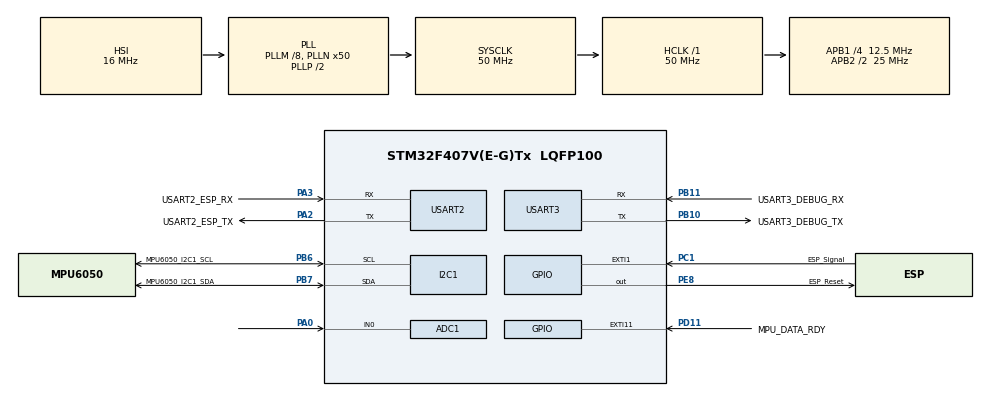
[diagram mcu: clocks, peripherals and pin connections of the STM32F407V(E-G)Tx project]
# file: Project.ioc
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ADC1.Channel-0\#ChannelRegularConversion=ADC_CHANNEL_0
ADC1.ContinuousConvMode=DISABLE
ADC1.ExternalTrigConv=ADC_EXTERNALTRIGCONV_T3_TRGO
ADC1.NbrOfConversionFlag=1
ADC1.Rank-0\#ChannelRegularConversion=1
ADC1.SamplingTime-0\#ChannelRegularConversion=ADC_SAMPLETIME_480CYCLES
ADC1.master=1
Dma.I2C1_RX.0.Direction=DMA_PERIPH_TO_MEMORY
Dma.I2C1_RX.0.FIFOMode=DMA_FIFOMODE_DISABLE
Dma.I2C1_RX.0.Instance=DMA1_Stream0
Dma.I2C1_RX.0.MemDataAlignment=DMA_MDATAALIGN_BYTE
Dma.I2C1_RX.0.MemInc=DMA_MINC_ENABLE
Dma.I2C1_RX.0.Mode=DMA_NORMAL
Dma.I2C1_RX.0.PeriphDataAlignment=DMA_PDATAALIGN_BYTE
Dma.I2C1_RX.0.PeriphInc=DMA_PINC_DISABLE
Dma.I2C1_RX.0.Priority=DMA_PRIORITY_LOW
Dma.Request0=I2C1_RX
Mcu.Family=STM32F4
Mcu.Name=STM32F407V(E-G)Tx
Mcu.Package=LQFP100
NVIC.ADC_IRQn=true\:1\:0\:true\:false\:true\:true\:true
NVIC.DMA1_Stream0_IRQn=true\:1\:0\:true\:false\:true\:false\:true
NVIC.EXTI15_10_IRQn=true\:1\:0\:true\:false\:true\:true\:true
NVIC.EXTI1_IRQn=true\:1\:1\:true\:false\:true\:true\:true
NVIC.I2C1_ER_IRQn=true\:1\:0\:true\:false\:true\:true\:true
NVIC.I2C1_EV_IRQn=true\:1\:0\:true\:false\:true\:true\:true
NVIC.PriorityGroup=NVIC_PRIORITYGROUP_2
NVIC.TIM2_IRQn=true\:1\:1\:true\:false\:true\:true\:true
NVIC.TIM4_IRQn=true\:1\:0\:true\:false\:true\:true\:true
PA0-WKUP.Signal=ADCx_IN0
PA2.GPIO_Label=USART2_ESP_TX
PA2.Mode=Asynchronous
PA2.Signal=USART2_TX
PA3.GPIO_Label=USART2_ESP_RX
PA3.Mode=Asynchronous
PA3.Signal=USART2_RX
PB10.GPIO_Label=USART3_DEBUG_TX
PB10.Mode=Asynchronous
PB10.Signal=USART3_TX
PB11.GPIO_Label=USART3_DEBUG_RX
PB11.Mode=Asynchronous
PB11.Signal=USART3_RX
PB6.GPIO_Label=MPU6050_I2C1_SCL
PB6.Mode=I2C
PB6.Signal=I2C1_SCL
PB7.GPIO_Label=MPU6050_I2C1_SDA
PB7.Mode=I2C
PB7.Signal=I2C1_SDA
PC1.GPIO_Label=ESP_Signal
PC1.GPIO_ModeDefaultEXTI=GPIO_MODE_IT_FALLING
PC1.GPIO_PuPd=GPIO_NOPULL
PC1.Signal=GPXTI1
PD11.GPIO_Label=MPU_DATA_RDY
PD11.Signal=GPXTI11
PE8.GPIO_Label=ESP_Reset
PE8.PinState=GPIO_PIN_SET
PE8.Signal=GPIO_Output
ProjectManager.HeapSize=0x200
ProjectManager.StackSize=0x400
ProjectManager.TargetToolchain=STM32CubeIDE
RCC.48MHZClocksFreq_Value=14285714.285714285
RCC.AHBFreq_Value=50000000
RCC.APB1CLKDivider=RCC_HCLK_DIV4
RCC.APB1Freq_Value=12500000
RCC.APB1TimFreq_Value=25000000
RCC.APB2CLKDivider=RCC_HCLK_DIV2
RCC.APB2Freq_Value=25000000
RCC.APB2TimFreq_Value=50000000
RCC.CortexFreq_Value=50000000
RCC.HCLKFreq_Value=50000000
RCC.HSE_VALUE=8000000
RCC.HSI_VALUE=16000000
RCC.LSE_VALUE=32768
RCC.PLLM=8
RCC.PLLN=50
RCC.PLLQ=7
RCC.SYSCLKFreq_VALUE=50000000
RCC.SYSCLKSource=RCC_SYSCLKSOURCE_PLLCLK
RCC.VCOOutputFreq_Value=100000000
SH.ADCx_IN0.0=ADC1_IN0,IN0
TIM2.Period=29999
TIM2.Prescaler=24999
TIM3.Period=4999
TIM3.Prescaler=24999
TIM3.TIM_MasterOutputTrigger=TIM_TRGO_UPDATE
TIM4.CounterMode=TIM_COUNTERMODE_UP
TIM4.Period=8099
TIM4.Prescaler=24999
USART2.VirtualMode=VM_ASYNC
USART3.VirtualMode=VM_ASYNC
VP_TIM2_VS_ClockSourceINT.Mode=Internal
VP_TIM3_VS_ClockSourceINT.Mode=Internal
VP_TIM4_VS_ClockSourceINT.Mode=Internal
board=STM32F407G-DISC1

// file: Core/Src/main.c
/* USER CODE BEGIN Header */
/**
  ******************************************************************************
  * @file           : main.c
  * @brief          : Main program body
  ******************************************************************************
  * @attention
  *
  * <h2><center>&copy; Copyright (c) 2021 STMicroelectronics.
  * All rights reserved.</center></h2>
  *
  * This software component is licensed by ST under Ultimate Liberty license
  * SLA0044, the "License"; You may not use this file except in compliance with
  * the License. You may obtain a copy of the License at:
  *                             www.st.com/SLA0044
  *
  ******************************************************************************
  */
/* USER CODE END Header */
#include "main.h"

/* USER CODE BEGIN Includes */
#include "string.h"
#include <stdio.h>
#include <stdlib.h>
#include "math.h"
/* USER CODE END Includes */

/* USER CODE BEGIN PD */
#define MQ_DATA_LENGTH 12
#define BASE_THRESHOLD 1.0
#define SLIDING_WINDOWS 7
#define COORDINATE_NUMBER 13

//MPU registers
#define MPU6050_ADDR 0xD0
#define WHO_AM_I_REG 0x75
#define PWR_MGMT_1_REG 0x6B
#define SMPLRT_DIV_REG 0x19
#define ACCEL_CONFIG_REG 0x1C
#define GYRO_CONFIG_REG 0x1B
#define ACCEL_XOUT_H_REG 0x3B
#define GYRO_XOUT_H_REG 0x43

#define FIFO_EN_REG 0x23
#define FIFO_R_W 0x74
#define USER_CTRL 0x6A
#define INT_ENABLE 0x38
#define CONFIG_REG 0x1A
#define FIFO_COUNTH 0x72
/* USER CODE END PD */

/* USER CODE BEGIN PM */
#ifdef DEBUG
# define DEBUG_PRINT(x) printf x
#else
# define DEBUG_PRINT(x) do {} while (0)
#endif
/* USER CODE END PM */

ADC_HandleTypeDef hadc1;

I2C_HandleTypeDef hi2c1;
DMA_HandleTypeDef hdma_i2c1_rx;

TIM_HandleTypeDef htim2;
TIM_HandleTypeDef htim3;
TIM_HandleTypeDef htim4;

UART_HandleTypeDef huart2;
UART_HandleTypeDef huart3;

/* USER CODE BEGIN PV */
uint8_t MPU_OK = 0;     //Check status MPU flag

//Fake gps structures
typedef struct {
	float longitude;
	float latitude;
}Coordinate;

Coordinate fake_gps[13];
uint8_t coordinate_index = 0;

//Sensor data structures
uint8_t mq_index = 0;
float mq_data[MQ_DATA_LENGTH];

////// MPU Variables
float Ax, Ay, Az, Gx, Gy, Gz = 0.0;
float Accel_X_RAW, Accel_Y_RAW, Accel_Z_RAW, Gyro_X_RAW, Gyro_Y_RAW, Gyro_Z_RAW = 0.0;

uint8_t mpu_data[1024];
uint16_t mpu_index = 0;
uint8_t fall_detected = 0;

//Calibration offsets
float offset_gyroX = 6.725720;
float offset_gyroY = 8.554494;
float offset_gyroZ = 5.479887;

float offset_accelX = 0.889819;
float offset_accelY = 0.694547;
float offset_accelZ = 1 - 0.260066;

uint8_t check_fall = 0;
uint8_t check_fall_counter = 0;
uint16_t bad_quality_road_counter = 0;

////// END MPU Variables

/* USER CODE END PV */

void SystemClock_Config(void);
static void MX_GPIO_Init(void);
static void MX_USART2_UART_Init(void);
static void MX_TIM2_Init(void);
static void MX_USART3_UART_Init(void);
static void MX_I2C1_Init(void);
static void MX_ADC1_Init(void);
static void MX_DMA_Init(void);
static void MX_TIM3_Init(void);
static void MX_TIM4_Init(void);

/* USER CODE BEGIN 0 */
#include <errno.h>
#include <sys/stat.h>
#include "retarget_uart.h"

void MPU6050_Init(){
	uint8_t check, Data;
	uint8_t attempts = 0;

	// Check if the device is ready
	while(check != 104){
		HAL_I2C_Mem_Read(&hi2c1, MPU6050_ADDR, WHO_AM_I_REG, 1, &check, 1, 1000);
		if(attempts++ > 50){
			break;
		}
	}

	if(check == 104){ // If the device is ready

		// We write all zeros in register 0X6B to wake up the sensor
		Data = 0;
		HAL_I2C_Mem_Write(&hi2c1, MPU6050_ADDR, PWR_MGMT_1_REG, 1, &Data, 1, 1000);

		// Let's put Gyro fs at 1KHz
		Data = 0x02;
		HAL_I2C_Mem_Write(&hi2c1, MPU6050_ADDR, CONFIG_REG, 1, &Data, 1, 1000);

		// DATA RATE = Gyroscope Output Rate (1 Khz) / (1 + SMPLRT_DIV (99)) ==> 10 Hz
		Data = 0x63;
		HAL_I2C_Mem_Write(&hi2c1, MPU6050_ADDR, SMPLRT_DIV_REG, 1, &Data, 1, 1000);

		// Accelerometer configuration:
		// XA_ST = 0, YA_ST = 0, ZA_ST = 0, FS_SEL = 0 ==> Full Scale Range = +- 2g
		Data = 0x00;
		HAL_I2C_Mem_Write(&hi2c1, MPU6050_ADDR, ACCEL_CONFIG_REG, 1, &Data, 1, 1000);

		// Gyroscope configuration:
		// XG_ST = 0, YG_ST = 0, ZG_ST = 0, FS_SEL = 0 ==> Full Scale Range = +- 250 */s
		Data = 0x00;
		HAL_I2C_Mem_Write(&hi2c1, MPU6050_ADDR, GYRO_CONFIG_REG, 1, &Data, 1, 1000);

		// Enable write buffers for accel and gyro
		Data = 0x78;
		HAL_I2C_Mem_Write(&hi2c1, MPU6050_ADDR, FIFO_EN_REG, 1, &Data, 1, 1000);

		// Enable the buffer
		Data = 0x44;
		HAL_I2C_Mem_Write(&hi2c1, MPU6050_ADDR, USER_CTRL, 1, &Data, 1, 1000);

		// Enable interrupt with data read
		Data = 0x01;
		HAL_I2C_Mem_Write(&hi2c1, MPU6050_ADDR, INT_ENABLE, 1, &Data, 1, 1000);
	}
}

// Initialization of the circular buffer containing the coordinates generated by Google Eart.
void fake_gps_init(){

	fake_gps[0].longitude = 9.232127873367;
	fake_gps[0].latitude = 45.476947477674;

	fake_gps[1].longitude = 9.23132169559556;
	fake_gps[1].latitude = 45.4769356338021;

	fake_gps[2].longitude = 9.23027839341514;
	fake_gps[2].latitude = 45.4769302429461;

	fake_gps[3].longitude = 9.22848735956641;
	fake_gps[3].latitude = 45.4768485383483;

	fake_gps[4].longitude = 9.22811674289873;
	fake_gps[4].latitude = 45.4767904670821;

	fake_gps[5].longitude = 9.22542983923211;
    fake_gps[5].latitude = 45.4767755259172;

    fake_gps[6].longitude = 9.22554076080336;
    fake_gps[6].latitude = 45.477625700989;

    fake_gps[7].longitude = 9.22552155468664;
    fake_gps[7].latitude = 45.4788784152841;

    fake_gps[8].longitude = 9.22652317861608;
    fake_gps[8].latitude = 45.4792292326394;

    fake_gps[9].longitude = 9.22803205121175;
    fake_gps[9].latitude = 45.4791161835439;

    fake_gps[10].longitude = 9.22938409789064;
    fake_gps[10].latitude = 45.4790173241089;

    fake_gps[11].longitude = 9.22994266430211;
    fake_gps[11].latitude = 45.4782498335493;

    fake_gps[12].longitude = 9.22997546730472;
    fake_gps[12].latitude = 45.4788991756912;
}

Coordinate get_coordinate(){
	Coordinate c = fake_gps[coordinate_index];
	coordinate_index = (coordinate_index + 1) % COORDINATE_NUMBER;
	return c;
}

void reset_esp8266(){
	HAL_NVIC_DisableIRQ(EXTI1_IRQn);

	HAL_GPIO_WritePin(ESP_Reset_GPIO_Port, ESP_Reset_Pin, GPIO_PIN_RESET);
	HAL_Delay(20);
	HAL_GPIO_WritePin(ESP_Reset_GPIO_Port, ESP_Reset_Pin, GPIO_PIN_SET);
	HAL_Delay(200);

	HAL_NVIC_ClearPendingIRQ(EXTI1_IRQn); //Clears the pending bit of an EXTI1 interrupt.
	__HAL_GPIO_EXTI_CLEAR_IT(ESP_Signal_Pin);

	//HAL_GPIO_WritePin(ESP_Signal_GPIO_Port, ESP_Signal_Pin, GPIO_PIN_RESET);
	HAL_NVIC_EnableIRQ(EXTI1_IRQn);
}

//Function that returns the sum of a collection of a certain length
float float_sum(float* collection, uint8_t index) {
	float sum = 0.0;
	for(int i=0; i<index; i++){
		sum += collection[i];
	}
	return sum;
}

void fall_counter_increment(float gyro_value){
	if(check_fall){                   //Start counting after first bad spot
		check_fall_counter++;
		if(check_fall_counter>20){    //The fall can last 20 measurements
			if(gyro_value>30.0){      //Check user movements
				check_fall_counter=check_fall=0;
			}
		}
	}
}
/* USER CODE END 0 */

int main(void)
{
  /* USER CODE BEGIN 1 */
  memset(mq_data, 0, MQ_DATA_LENGTH*sizeof(float));
  /* USER CODE END 1 */

  /* MCU Configuration--------------------------------------------------------*/

  /* Reset of all peripherals, Initializes the Flash interface and the Systick. */
  HAL_Init();

  /* Configure the system clock */
  SystemClock_Config();

  /* Initialize all configured peripherals */
  MX_GPIO_Init();

  MX_USART2_UART_Init();   //UART used to communicate with the ESP8266
  MX_TIM2_Init();	       //30 sec timer to wake up ESP8266
  MX_USART3_UART_Init();   //Debugging UART
  MX_I2C1_Init();          //I2C to communicate with MPU-6050
  MX_ADC1_Init();          //ADC1 used to convert signals from the MQ-135
  MX_DMA_Init();           //Dma to transfer inertial data into the STM32 SRAM
  MX_TIM3_Init();   	   //5 sec timer to start ADC1 conversion
  MX_TIM4_Init();   	   //8.1 sec timer for reading inertial data from MPU-6050
  /* USER CODE BEGIN 2 */
  RetargetInit(&huart3);   //Retarget printf to uart3

  fake_gps_init();

  MPU6050_Init();
  HAL_DMA_Init(&hdma_i2c1_rx);

  HAL_TIM_Base_Start(&htim3);
  HAL_ADC_Start_IT(&hadc1);

  HAL_NVIC_DisableIRQ(EXTI1_IRQn);
  __HAL_TIM_CLEAR_FLAG(&htim2, TIM_SR_UIF); //Clear update interrupt flag
  HAL_TIM_Base_Start_IT(&htim2); 			//Start timer 30 s

  HAL_SuspendTick(); //The SysTick interrupt is disabled and then the Tick increment is suspended

  /*
   * Set SLEEPONEXIT bit of SCR register. When this bit is set, the processor re-enters SLEEP mode
   * when an interruption handling is over.
   */
  HAL_PWR_EnableSleepOnExit();

  HAL_PWR_EnterSLEEPMode(PWR_MAINREGULATOR_ON, PWR_SLEEPENTRY_WFI);

  /* USER CODE END 2 */

  /* Infinite loop */
  while (1){

  }
}

void SystemClock_Config(void)
{
  RCC_OscInitTypeDef RCC_OscInitStruct = {0};
  RCC_ClkInitTypeDef RCC_ClkInitStruct = {0};

  /** Configure the main internal regulator output voltage
  */
  __HAL_RCC_PWR_CLK_ENABLE();
  __HAL_PWR_VOLTAGESCALING_CONFIG(PWR_REGULATOR_VOLTAGE_SCALE1);
  /** Initializes the RCC Oscillators according to the specified parameters
  * in the RCC_OscInitTypeDef structure.
  */
  RCC_OscInitStruct.OscillatorType = RCC_OSCILLATORTYPE_HSI;
  RCC_OscInitStruct.HSIState = RCC_HSI_ON;
  RCC_OscInitStruct.HSICalibrationValue = RCC_HSICALIBRATION_DEFAULT;
  RCC_OscInitStruct.PLL.PLLState = RCC_PLL_ON;
  RCC_OscInitStruct.PLL.PLLSource = RCC_PLLSOURCE_HSI;
  RCC_OscInitStruct.PLL.PLLM = 8;
  RCC_OscInitStruct.PLL.PLLN = 50;
  RCC_OscInitStruct.PLL.PLLP = RCC_PLLP_DIV2;
  RCC_OscInitStruct.PLL.PLLQ = 7;
  if (HAL_RCC_OscConfig(&RCC_OscInitStruct) != HAL_OK)
  {
    Error_Handler();
  }
  /** Initializes the CPU, AHB and APB buses clocks
  */
  RCC_ClkInitStruct.ClockType = RCC_CLOCKTYPE_HCLK|RCC_CLOCKTYPE_SYSCLK
                              |RCC_CLOCKTYPE_PCLK1|RCC_CLOCKTYPE_PCLK2;
  RCC_ClkInitStruct.SYSCLKSource = RCC_SYSCLKSOURCE_PLLCLK;
  RCC_ClkInitStruct.AHBCLKDivider = RCC_SYSCLK_DIV1;
  RCC_ClkInitStruct.APB1CLKDivider = RCC_HCLK_DIV4;
  RCC_ClkInitStruct.APB2CLKDivider = RCC_HCLK_DIV2;

  if (HAL_RCC_ClockConfig(&RCC_ClkInitStruct, FLASH_LATENCY_1) != HAL_OK)
  {
    Error_Handler();
  }
}

static void MX_ADC1_Init(void)
{

  ADC_ChannelConfTypeDef sConfig = {0};

  /** Configure the global features of the ADC (Clock, Resolution, Data Alignment and number of conversion)
  */
  hadc1.Instance = ADC1;
  hadc1.Init.ClockPrescaler = ADC_CLOCK_SYNC_PCLK_DIV2;
  hadc1.Init.Resolution = ADC_RESOLUTION_12B;
  hadc1.Init.ScanConvMode = DISABLE;
  hadc1.Init.ContinuousConvMode = DISABLE;
  hadc1.Init.DiscontinuousConvMode = DISABLE;
  hadc1.Init.ExternalTrigConvEdge = ADC_EXTERNALTRIGCONVEDGE_RISING;
  hadc1.Init.ExternalTrigConv = ADC_EXTERNALTRIGCONV_T3_TRGO;
  hadc1.Init.DataAlign = ADC_DATAALIGN_RIGHT;
  hadc1.Init.NbrOfConversion = 1;
  hadc1.Init.DMAContinuousRequests = DISABLE;
  hadc1.Init.EOCSelection = ADC_EOC_SINGLE_CONV;
  if (HAL_ADC_Init(&hadc1) != HAL_OK)
  {
    Error_Handler();
  }
  /** Configure for the selected ADC regular channel its corresponding rank in the sequencer and its sample time.
  */
  sConfig.Channel = ADC_CHANNEL_0;
  sConfig.Rank = 1;
  sConfig.SamplingTime = ADC_SAMPLETIME_480CYCLES;
  if (HAL_ADC_ConfigChannel(&hadc1, &sConfig) != HAL_OK)
  {
    Error_Handler();
  }

}

static void MX_I2C1_Init(void)
{

  hi2c1.Instance = I2C1;
  hi2c1.Init.ClockSpeed = 100000;
  hi2c1.Init.DutyCycle = I2C_DUTYCYCLE_2;
  hi2c1.Init.OwnAddress1 = 0;
  hi2c1.Init.AddressingMode = I2C_ADDRESSINGMODE_7BIT;
  hi2c1.Init.DualAddressMode = I2C_DUALADDRESS_DISABLE;
  hi2c1.Init.OwnAddress2 = 0;
  hi2c1.Init.GeneralCallMode = I2C_GENERALCALL_DISABLE;
  hi2c1.Init.NoStretchMode = I2C_NOSTRETCH_DISABLE;
  if (HAL_I2C_Init(&hi2c1) != HAL_OK)
  {
    Error_Handler();
  }

}

static void MX_TIM2_Init(void)
{

  TIM_ClockConfigTypeDef sClockSourceConfig = {0};
  TIM_MasterConfigTypeDef sMasterConfig = {0};

  htim2.Instance = TIM2;
  htim2.Init.Prescaler = 24999;    //25MHz/25000 = 1000 Hz
  htim2.Init.CounterMode = TIM_COUNTERMODE_UP;
  htim2.Init.Period = 29999;       //1000Hz / 30000 = 0.033Hz = 30
  htim2.Init.ClockDivision = TIM_CLOCKDIVISION_DIV1;
  htim2.Init.AutoReloadPreload = TIM_AUTORELOAD_PRELOAD_DISABLE;
  if (HAL_TIM_Base_Init(&htim2) != HAL_OK)
  {
    Error_Handler();
  }
  sClockSourceConfig.ClockSource = TIM_CLOCKSOURCE_INTERNAL;
  if (HAL_TIM_ConfigClockSource(&htim2, &sClockSourceConfig) != HAL_OK)
  {
    Error_Handler();
  }
  sMasterConfig.MasterOutputTrigger = TIM_TRGO_RESET;
  sMasterConfig.MasterSlaveMode = TIM_MASTERSLAVEMODE_DISABLE;
  if (HAL_TIMEx_MasterConfigSynchronization(&htim2, &sMasterConfig) != HAL_OK)
  {
    Error_Handler();
  }

}

static void MX_TIM3_Init(void)
{

  TIM_ClockConfigTypeDef sClockSourceConfig = {0};
  TIM_MasterConfigTypeDef sMasterConfig = {0};

  htim3.Instance = TIM3;
  htim3.Init.Prescaler = 24999;
  htim3.Init.CounterMode = TIM_COUNTERMODE_UP;
  htim3.Init.Period = 4999;
  htim3.Init.ClockDivision = TIM_CLOCKDIVISION_DIV1;
  htim3.Init.AutoReloadPreload = TIM_AUTORELOAD_PRELOAD_DISABLE;
  if (HAL_TIM_Base_Init(&htim3) != HAL_OK)
  {
    Error_Handler();
  }
  sClockSourceConfig.ClockSource = TIM_CLOCKSOURCE_INTERNAL;
  if (HAL_TIM_ConfigClockSource(&htim3, &sClockSourceConfig) != HAL_OK)
  {
    Error_Handler();
  }
  sMasterConfig.MasterOutputTrigger = TIM_TRGO_UPDATE;
  sMasterConfig.MasterSlaveMode = TIM_MASTERSLAVEMODE_DISABLE;
  if (HAL_TIMEx_MasterConfigSynchronization(&htim3, &sMasterConfig) != HAL_OK)
  {
    Error_Handler();
  }

}

static void MX_TIM4_Init(void)
{

  TIM_ClockConfigTypeDef sClockSourceConfig = {0};
  TIM_MasterConfigTypeDef sMasterConfig = {0};

  htim4.Instance = TIM4;
  htim4.Init.Prescaler = 24999;
  htim4.Init.CounterMode = TIM_COUNTERMODE_UP;
  htim4.Init.Period = 8099;
  htim4.Init.ClockDivision = TIM_CLOCKDIVISION_DIV1;
  htim4.Init.AutoReloadPreload = TIM_AUTORELOAD_PRELOAD_DISABLE;
  if (HAL_TIM_Base_Init(&htim4) != HAL_OK)
  {
    Error_Handler();
  }
  sClockSourceConfig.ClockSource = TIM_CLOCKSOURCE_INTERNAL;
  if (HAL_TIM_ConfigClockSource(&htim4, &sClockSourceConfig) != HAL_OK)
  {
    Error_Handler();
  }
  sMasterConfig.MasterOutputTrigger = TIM_TRGO_RESET;
  sMasterConfig.MasterSlaveMode = TIM_MASTERSLAVEMODE_DISABLE;
  if (HAL_TIMEx_MasterConfigSynchronization(&htim4, &sMasterConfig) != HAL_OK)
  {
    Error_Handler();
  }

}

static void MX_USART2_UART_Init(void)
{

  huart2.Instance = USART2;
  huart2.Init.BaudRate = 115200;
  huart2.Init.WordLength = UART_WORDLENGTH_8B;
  huart2.Init.StopBits = UART_STOPBITS_1;
  huart2.Init.Parity = UART_PARITY_NONE;
  huart2.Init.Mode = UART_MODE_TX_RX;
  huart2.Init.HwFlowCtl = UART_HWCONTROL_NONE;
  huart2.Init.OverSampling = UART_OVERSAMPLING_16;
  if (HAL_UART_Init(&huart2) != HAL_OK)
  {
    Error_Handler();
  }

}

static void MX_USART3_UART_Init(void)
{

  huart3.Instance = USART3;
  huart3.Init.BaudRate = 115200;
  huart3.Init.WordLength = UART_WORDLENGTH_8B;
  huart3.Init.StopBits = UART_STOPBITS_1;
  huart3.Init.Parity = UART_PARITY_NONE;
  huart3.Init.Mode = UART_MODE_TX_RX;
  huart3.Init.HwFlowCtl = UART_HWCONTROL_NONE;
  huart3.Init.OverSampling = UART_OVERSAMPLING_16;
  if (HAL_UART_Init(&huart3) != HAL_OK)
  {
    Error_Handler();
  }

}

static void MX_DMA_Init(void)
{

  /* DMA controller clock enable */
  __HAL_RCC_DMA1_CLK_ENABLE();

  /* DMA interrupt init */
  /* DMA1_Stream0_IRQn interrupt configuration */
  HAL_NVIC_SetPriority(DMA1_Stream0_IRQn, 1, 0);
  HAL_NVIC_EnableIRQ(DMA1_Stream0_IRQn);

}

static void MX_GPIO_Init(void)
{
  GPIO_InitTypeDef GPIO_InitStruct = {0};

  /* GPIO Ports Clock Enable */
  __HAL_RCC_GPIOC_CLK_ENABLE();
  __HAL_RCC_GPIOA_CLK_ENABLE();
  __HAL_RCC_GPIOE_CLK_ENABLE();
  __HAL_RCC_GPIOB_CLK_ENABLE();
  __HAL_RCC_GPIOD_CLK_ENABLE();

  /*Configure GPIO pin Output Level */
  HAL_GPIO_WritePin(ESP_Reset_GPIO_Port, ESP_Reset_Pin, GPIO_PIN_SET);

  /*Configure GPIO pin : ESP_Signal_Pin */
  GPIO_InitStruct.Pin = ESP_Signal_Pin;
  GPIO_InitStruct.Mode = GPIO_MODE_IT_FALLING;
  GPIO_InitStruct.Pull = GPIO_NOPULL;
  HAL_GPIO_Init(ESP_Signal_GPIO_Port, &GPIO_InitStruct);

  /*Configure GPIO pin : ESP_Reset_Pin */
  GPIO_InitStruct.Pin = ESP_Reset_Pin;
  GPIO_InitStruct.Mode = GPIO_MODE_OUTPUT_PP;
  GPIO_InitStruct.Pull = GPIO_NOPULL;
  GPIO_InitStruct.Speed = GPIO_SPEED_FREQ_LOW;
  HAL_GPIO_Init(ESP_Reset_GPIO_Port, &GPIO_InitStruct);

  /*Configure GPIO pin : MPU_DATA_RDY_Pin */
  GPIO_InitStruct.Pin = MPU_DATA_RDY_Pin;
  GPIO_InitStruct.Mode = GPIO_MODE_IT_RISING;
  GPIO_InitStruct.Pull = GPIO_NOPULL;
  HAL_GPIO_Init(MPU_DATA_RDY_GPIO_Port, &GPIO_InitStruct);

  /* EXTI interrupt init*/
  HAL_NVIC_SetPriority(EXTI1_IRQn, 1, 1);
  HAL_NVIC_EnableIRQ(EXTI1_IRQn);

  HAL_NVIC_SetPriority(EXTI15_10_IRQn, 1, 0);
  HAL_NVIC_EnableIRQ(EXTI15_10_IRQn);

}

/* USER CODE BEGIN 4 */

void HAL_TIM_PeriodElapsedCallback(TIM_HandleTypeDef *htim)
{
  /* USER CODE BEGIN Callback 0 */
	if (htim->Instance == TIM2) {
		HAL_ResumeTick();
		DEBUG_PRINT(("[TIM2] 30 sec timer expired! SEND RESET TO ESP8266!\r\n\n"));

		// Check MPU
		if(!MPU_OK){
			MPU6050_Init();
		}

		reset_esp8266();

		HAL_SuspendTick();
	}

	if(htim->Instance == TIM4) {
		/*uint32_t cycles = 0;
		double timeCallback;

		DWT->CTRL |= 1;
		DWT->CYCCNT = 0;
		*/
		DEBUG_PRINT(("[TIM4] Reading inertial data from MPU-6050\r\n"));

		uint8_t countArr[2];
		uint16_t count=0;

		uint8_t Data = 0x0;

		//Stop fifo MPU-6050 writing before reading
		HAL_I2C_Mem_Write(&hi2c1, MPU6050_ADDR, FIFO_EN_REG, 1, &Data, 1, 1000);

		//Number of bytes ready to read
		HAL_I2C_Mem_Read(&hi2c1, MPU6050_ADDR, FIFO_COUNTH, 1, countArr, 2, 1000);
		count = (uint16_t) (countArr[0] << 8 | countArr[1]);
		DEBUG_PRINT(("[TIM4] Fifo count: %d\r\n\n", count));

		if(count > 0 && count <= 1024) {
			mpu_index = count;
			Data = FIFO_R_W;

			//I2C master-slave comunication for reading fifo buffer
			HAL_I2C_Master_Transmit(&hi2c1, MPU6050_ADDR, &Data, 1, 1000);
			HAL_I2C_Master_Receive_DMA(&hi2c1, MPU6050_ADDR, &mpu_data[0], count);
		}
		else {
			//In case I cannot read the fifo buffer correctly, I initialise the device.
			MPU6050_Init();
		}

		/*cycles = DWT->CYCCNT;
		cycles--;

		timeCallback = ((double)cycles/HAL_RCC_GetHCLKFreq())*10e+3;
        printf("TIME (tim4 callback) =  %.2lf ms\n\r", timeCallback);
        */
	}

  /* USER CODE END Callback 0 */

  /* USER CODE BEGIN Callback 1 */

  /* USER CODE END Callback 1 */
}

//Callback interrupt ESP8266
void HAL_GPIO_EXTI_Callback(uint16_t GPIO_Pin){
	if(GPIO_Pin == ESP_Signal_Pin){

		/*uint32_t cycles = 0;
		double timeCallback;

		DWT->CTRL |= 1;
		DWT->CYCCNT = 0;
		*/
		DEBUG_PRINT(("[ESP_SIGNAL] Sending data to ESP8266\r\n"));
		uint16_t road_quality = 0;

		float mq_mean = float_sum(mq_data, mq_index)/mq_index;
		Coordinate c = get_coordinate();

		if(bad_quality_road_counter <= 10){
			road_quality = 0; //Excellent road quality
		}else if(bad_quality_road_counter > 10 && bad_quality_road_counter <= 20){
			road_quality = 1; //Decent road quality
		}else if(bad_quality_road_counter > 20){
			road_quality = 2; //Bad road quality
		}

		bad_quality_road_counter = 0;

		DEBUG_PRINT(("[ESP_SIGNAL] Data: Longitude=%f, Latitude=%f, PPM=%f, Road_quality=%d, Fall_detected=%d\r\n\n", c.longitude, c.latitude, mq_mean, road_quality, fall_detected));

		char line[60];

		snprintf(line, sizeof(line), "%f,%f,%f,%d,%d\n", c.longitude, c.latitude, mq_mean, road_quality, fall_detected);

		fall_detected=0;
		mq_index=0;

		//Sending data via USART to ESP8266
		HAL_UART_Transmit(&huart2, (uint8_t*) (line), strlen(line), 1000);

		__HAL_GPIO_EXTI_CLEAR_IT(EXTI1_IRQn);
		HAL_NVIC_ClearPendingIRQ(EXTI1_IRQn);

		HAL_NVIC_DisableIRQ(EXTI1_IRQn);

		/*cycles = DWT->CYCCNT;
		cycles--;

		timeCallback = ((double)cycles/HAL_RCC_GetHCLKFreq())*10e+3;
		printf("TIME (ESP_Signal) =  %.2lf ms\n\r", timeCallback);
		*/
	}

	if(GPIO_Pin == MPU_DATA_RDY_Pin){

		//Periodic timer start for mpu reading
		DEBUG_PRINT(("[MPU_DATA_RDY_Pin] MPU-6050 fifo buffer starts to fill up\r\n\n"));
		__HAL_TIM_CLEAR_FLAG(&htim4, TIM_SR_UIF);
		HAL_TIM_Base_Start_IT(&htim4); //Start 8 sec timer
		HAL_NVIC_DisableIRQ(EXTI15_10_IRQn);
	}
}

void HAL_ADC_ConvCpltCallback(ADC_HandleTypeDef*hadc){

	uint16_t rawValue; float ppm; float v;

	rawValue = HAL_ADC_GetValue(hadc);

	v = ((float)rawValue) / 4095 * 4668;
	ppm = ((v - 320.0) / 0.65) + 400;
	//DEBUG_PRINT(("rawValue: %hu\r\n", rawValue));
	//DEBUG_PRINT(("v: %f\r\n", v));
	DEBUG_PRINT(("[HAL_ADC_ConvCpltCallback] PPM: %f\r\n\n", ppm));
	mq_data[mq_index] = ppm;
	mq_index = (mq_index + 1) % MQ_DATA_LENGTH;
}

void HAL_I2C_MasterRxCpltCallback(I2C_HandleTypeDef* hi2c){
	/*uint32_t cycles = 0;
	double timeCallback;

	DWT->CTRL |= 1;
	DWT->CYCCNT = 0;
	*/

	DEBUG_PRINT(("[HAL_I2C_MasterRxCpltCallback] Receive DMA callback\r\n"));
	MPU_OK = 1;

	/// Reactivate write buffer

	uint8_t Data = 0x78;
	//Restart writing inertial data to fifo buffer
	HAL_I2C_Mem_Write(&hi2c1, MPU6050_ADDR, FIFO_EN_REG, 1, &Data, 1, 1000);
	Data = 0x44;
	//I clean the fifo buffer and reactivate its writing
	HAL_I2C_Mem_Write(&hi2c1, MPU6050_ADDR, USER_CTRL, 1, &Data, 1, 1000);

	float means[SLIDING_WINDOWS];
	float temp_sums[SLIDING_WINDOWS+1];
	float accel_vectors[mpu_index/12], gyro_vectors[mpu_index/12];
	uint16_t accel_vector_index=0, gyro_vector_index = 0;
	float accel_sum = 0;
	uint8_t sum_counter = 0, sum_index=0;

	//Compute accelerations vectors
	for(int i=0; i<mpu_index; i+=12){
		Accel_X_RAW = (int16_t)(mpu_data[i] << 8 | mpu_data[i+1]);
		Accel_Y_RAW = (int16_t)(mpu_data[i+2] << 8 | mpu_data[i+3]);
		Accel_Z_RAW = (int16_t)(mpu_data[i+4] << 8 | mpu_data[i+5]);

		Ax = Accel_X_RAW/16384.0 + offset_accelX;
		Ay = Accel_Y_RAW/16384.0 + offset_accelY;
		Az = Accel_Z_RAW/16384.0 + offset_accelZ;

		float raw_amp = sqrt(pow(Ax, 2)+pow(Ay, 2)+pow(Az, 2));
		accel_vectors[accel_vector_index++] = raw_amp;
		accel_sum = accel_sum + raw_amp;
		sum_counter++;
		if (sum_counter == 10){
			temp_sums[sum_index++] = accel_sum;
			sum_counter = 0;
			accel_sum = 0;
		}

		Gyro_X_RAW = (int16_t)(mpu_data[i+6] << 8 | mpu_data[i+6+1]);
		Gyro_Y_RAW = (int16_t)(mpu_data[i+6+2] << 8 | mpu_data[i+6+3]);
		Gyro_Z_RAW = (int16_t)(mpu_data[i+6+4] << 8 | mpu_data[i+6+5]);

		Gx = Gyro_X_RAW/131.0 + offset_gyroX;
		Gy = Gyro_Y_RAW/131.0 + offset_gyroY;
		Gz = Gyro_Z_RAW/131.0 + offset_gyroZ;

		float gyro_vector = sqrt(pow(Gx, 2)+pow(Gy, 2)+pow(Gz, 2));
		gyro_vectors[gyro_vector_index++] = gyro_vector;

		//DEBUG_PRINT(("Burst #%d: linear acceleration axis x: %f g, y: %f g, z: %f g\r\n", i/12, Ax, Ay, Az));
		//DEBUG_PRINT(("Gyro exis x: %f °/s, y: %f °/s, z: %f °/s \tgyro_vector: %f\r\n", Gx, Gy, Gz, gyro_vector));
	}

	//Calculate sliding windows means
	for(int i=0; i<SLIDING_WINDOWS; i++){
			means[i]=(temp_sums[i]+temp_sums[i+1])/20;
	}

	//Road quality end fall detection algorithm
	for (int i = 0; i < SLIDING_WINDOWS; ++i) {
		for(int j=0; j<20; j++){
			if(j<10 && i<6){  //Caduta
				fall_counter_increment(gyro_vectors[10*i+j]);
			}
			if(i==6){
				fall_counter_increment(gyro_vectors[10*i+j]);
			}
			if(check_fall_counter > 60) {
				fall_detected=1;
				check_fall_counter=check_fall=0;
			}
			float threshold = BASE_THRESHOLD - gyro_vectors[10*i+j]/250.0;
			float difference = abs(accel_vectors[10*i+j] - means[i]);
			if(difference > threshold) {
				//DEBUG_PRINT(("Bad point to the measurement nr. %d\r\n", 10*i+j));
				bad_quality_road_counter++;
				check_fall=1;
			}
		}
	}

	/*cycles = DWT->CYCCNT;
	cycles--;

	timeCallback = ((double)cycles/HAL_RCC_GetHCLKFreq())*10e+3;

	printf("TIME (HAL_I2C_MasterRxCpltCallback) =  %.2lf ms\n\r", timeCallback);
	*/
	DEBUG_PRINT(("[HAL_I2C_MasterRxCpltCallback] Bad points calculated: %d\r\n", bad_quality_road_counter));
	DEBUG_PRINT(("[HAL_I2C_MasterRxCpltCallback] Fall_detected: %d\r\n\n", fall_detected));

}
/* USER CODE END 4 */

void Error_Handler(void)
{
  __disable_irq();
  while (1)
  {
  }
}

/************************ (C) COPYRIGHT STMicroelectronics *****END OF FILE****/
